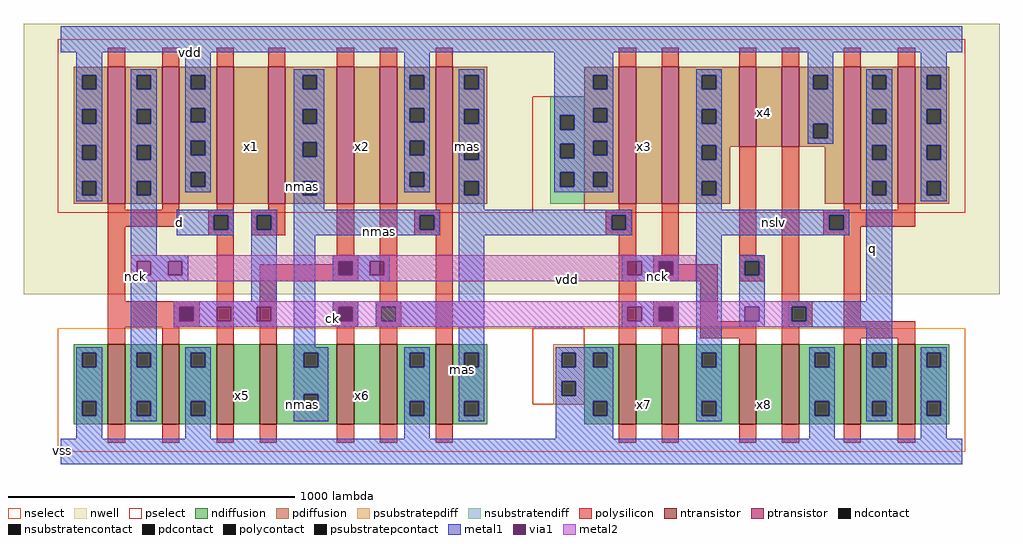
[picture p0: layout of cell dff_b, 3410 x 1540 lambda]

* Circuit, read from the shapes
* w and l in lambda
.subckt dff_b q d ck vdd vss
M1 nck ck vss vss nfet w=280 l=60 m=2
M2 x5 d vss vss nfet w=280 l=60
M3 nmas nck x5 vss nfet w=280 l=60
M4 x6 ck nmas vss nfet w=280 l=60
M5 vss mas x6 vss nfet w=280 l=60
M6 mas nmas vss vss nfet w=280 l=60
M7 x7 mas vss vss nfet w=280 l=60
M8 nslv ck x7 vss nfet w=280 l=60
M9 x8 nck nslv vss nfet w=280 l=60
M10 vss q x8 vss nfet w=280 l=60
M11 q nslv vss vss nfet w=280 l=60 m=2
M12 nck ck vdd vdd pfet w=480 l=60 m=2
M13 x1 d vdd vdd pfet w=480 l=60
M14 nmas ck x1 vdd pfet w=480 l=60
M15 x2 nck nmas vdd pfet w=480 l=60
M16 vdd mas x2 vdd pfet w=480 l=60
M17 mas nmas vdd vdd pfet w=480 l=60
M18 x3 mas vdd vdd pfet w=480 l=60
M19 nslv nck x3 vdd pfet w=480 l=60
M20 x4 ck nslv vdd pfet w=280 l=60
M21 vdd q x4 vdd pfet w=280 l=60
M22 q nslv vdd vdd pfet w=480 l=60 m=2
.ends

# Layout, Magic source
magic
tech amic5n
<< nwell >>
rect -130 550 3280 1495
<< ntransistor >>
rect 165 95 225 375
rect 355 95 415 375
rect 545 95 605 375
rect 695 95 755 375
rect 965 95 1025 375
rect 1115 95 1175 375
rect 1310 95 1370 375
rect 1950 95 2010 375
rect 2100 95 2160 375
rect 2370 95 2430 375
rect 2520 95 2580 375
rect 2735 95 2795 375
rect 2925 95 2985 375
<< ptransistor >>
rect 165 865 225 1345
rect 355 865 415 1345
rect 545 865 605 1345
rect 725 865 785 1345
rect 965 865 1025 1345
rect 1115 865 1175 1345
rect 1310 865 1370 1345
rect 1950 865 2010 1345
rect 2100 865 2160 1345
rect 2370 1065 2430 1345
rect 2520 1065 2580 1345
rect 2735 865 2795 1345
rect 2925 865 2985 1345
<< nselect >>
rect 1650 835 1830 1240
rect -10 165 1650 430
rect 1830 165 3160 430
rect -10 0 3160 165
<< pselect >>
rect -10 1240 3160 1440
rect -10 835 1650 1240
rect 1830 835 3160 1240
rect 1650 165 1830 430
<< ndiffusion >>
rect 45 345 165 375
rect 45 295 75 345
rect 125 295 165 345
rect 45 175 165 295
rect 45 125 75 175
rect 125 125 165 175
rect 45 95 165 125
rect 225 345 355 375
rect 225 295 265 345
rect 315 295 355 345
rect 225 175 355 295
rect 225 125 265 175
rect 315 125 355 175
rect 225 95 355 125
rect 415 345 545 375
rect 415 295 455 345
rect 505 295 545 345
rect 415 175 545 295
rect 415 125 455 175
rect 505 125 545 175
rect 415 95 545 125
rect 605 95 695 375
rect 755 345 965 375
rect 755 295 850 345
rect 900 295 965 345
rect 755 200 965 295
rect 755 150 850 200
rect 900 150 965 200
rect 755 95 965 150
rect 1025 95 1115 375
rect 1175 345 1310 375
rect 1175 295 1220 345
rect 1270 295 1310 345
rect 1175 175 1310 295
rect 1175 125 1220 175
rect 1270 125 1310 175
rect 1175 95 1310 125
rect 1370 345 1490 375
rect 1370 295 1410 345
rect 1460 295 1490 345
rect 1370 175 1490 295
rect 1370 125 1410 175
rect 1460 125 1490 175
rect 1830 345 1950 375
rect 1830 295 1860 345
rect 1910 295 1950 345
rect 1830 175 1950 295
rect 1370 95 1490 125
rect 1830 125 1860 175
rect 1910 125 1950 175
rect 1830 95 1950 125
rect 2010 95 2100 375
rect 2160 345 2370 375
rect 2160 295 2240 345
rect 2290 295 2370 345
rect 2160 175 2370 295
rect 2160 125 2240 175
rect 2290 125 2370 175
rect 2160 95 2370 125
rect 2430 95 2520 375
rect 2580 345 2735 375
rect 2580 295 2635 345
rect 2685 295 2735 345
rect 2580 175 2735 295
rect 2580 125 2635 175
rect 2685 125 2735 175
rect 2580 95 2735 125
rect 2795 345 2925 375
rect 2795 295 2835 345
rect 2885 295 2925 345
rect 2795 175 2925 295
rect 2795 125 2835 175
rect 2885 125 2925 175
rect 2795 95 2925 125
rect 2985 345 3105 375
rect 2985 295 3025 345
rect 3075 295 3105 345
rect 2985 175 3105 295
rect 2985 125 3025 175
rect 3075 125 3105 175
rect 2985 95 3105 125
<< pdiffusion >>
rect 45 1315 165 1345
rect 45 1265 75 1315
rect 125 1265 165 1315
rect 45 1195 165 1265
rect 45 1145 75 1195
rect 125 1145 165 1195
rect 45 1070 165 1145
rect 45 1020 75 1070
rect 125 1020 165 1070
rect 45 945 165 1020
rect 45 895 75 945
rect 125 895 165 945
rect 45 865 165 895
rect 225 1315 355 1345
rect 225 1265 265 1315
rect 315 1265 355 1315
rect 225 1195 355 1265
rect 225 1145 265 1195
rect 315 1145 355 1195
rect 225 1070 355 1145
rect 225 1020 265 1070
rect 315 1020 355 1070
rect 225 945 355 1020
rect 225 895 265 945
rect 315 895 355 945
rect 225 865 355 895
rect 415 1315 545 1345
rect 415 1265 455 1315
rect 505 1265 545 1315
rect 415 1200 545 1265
rect 415 1150 455 1200
rect 505 1150 545 1200
rect 415 1085 545 1150
rect 415 1035 455 1085
rect 505 1035 545 1085
rect 415 975 545 1035
rect 415 925 455 975
rect 505 925 545 975
rect 415 865 545 925
rect 605 865 725 1345
rect 785 1315 965 1345
rect 785 1265 845 1315
rect 895 1265 965 1315
rect 785 1195 965 1265
rect 785 1145 845 1195
rect 895 1145 965 1195
rect 785 1080 965 1145
rect 785 1030 845 1080
rect 895 1030 965 1080
rect 785 945 965 1030
rect 785 895 845 945
rect 895 895 965 945
rect 785 865 965 895
rect 1025 865 1115 1345
rect 1175 1315 1310 1345
rect 1175 1265 1220 1315
rect 1270 1265 1310 1315
rect 1175 1200 1310 1265
rect 1175 1150 1220 1200
rect 1270 1150 1310 1200
rect 1175 1085 1310 1150
rect 1175 1035 1220 1085
rect 1270 1035 1310 1085
rect 1175 975 1310 1035
rect 1175 925 1220 975
rect 1270 925 1310 975
rect 1175 865 1310 925
rect 1370 1315 1490 1345
rect 1370 1265 1410 1315
rect 1460 1265 1490 1315
rect 1370 1195 1490 1265
rect 1830 1315 1950 1345
rect 1830 1265 1860 1315
rect 1910 1265 1950 1315
rect 1370 1145 1410 1195
rect 1460 1145 1490 1195
rect 1370 1070 1490 1145
rect 1370 1020 1410 1070
rect 1460 1020 1490 1070
rect 1370 945 1490 1020
rect 1370 895 1410 945
rect 1460 895 1490 945
rect 1370 865 1490 895
rect 1830 1200 1950 1265
rect 1830 1150 1860 1200
rect 1910 1150 1950 1200
rect 1830 1085 1950 1150
rect 1830 1035 1860 1085
rect 1910 1035 1950 1085
rect 1830 975 1950 1035
rect 1830 925 1860 975
rect 1910 925 1950 975
rect 1830 865 1950 925
rect 2010 865 2100 1345
rect 2160 1315 2370 1345
rect 2160 1265 2240 1315
rect 2290 1265 2370 1315
rect 2160 1195 2370 1265
rect 2160 1145 2240 1195
rect 2290 1145 2370 1195
rect 2160 1070 2370 1145
rect 2160 1020 2240 1070
rect 2290 1065 2370 1070
rect 2430 1065 2520 1345
rect 2580 1315 2735 1345
rect 2580 1265 2630 1315
rect 2680 1265 2735 1315
rect 2580 1145 2735 1265
rect 2580 1095 2630 1145
rect 2680 1095 2735 1145
rect 2580 1065 2735 1095
rect 2290 1020 2340 1065
rect 2160 945 2340 1020
rect 2160 895 2240 945
rect 2290 895 2340 945
rect 2160 865 2340 895
rect 2670 865 2735 1065
rect 2795 1315 2925 1345
rect 2795 1265 2835 1315
rect 2885 1265 2925 1315
rect 2795 1195 2925 1265
rect 2795 1145 2835 1195
rect 2885 1145 2925 1195
rect 2795 1070 2925 1145
rect 2795 1020 2835 1070
rect 2885 1020 2925 1070
rect 2795 945 2925 1020
rect 2795 895 2835 945
rect 2885 895 2925 945
rect 2795 865 2925 895
rect 2985 1315 3105 1345
rect 2985 1265 3025 1315
rect 3075 1265 3105 1315
rect 2985 1195 3105 1265
rect 2985 1145 3025 1195
rect 3075 1145 3105 1195
rect 2985 1070 3105 1145
rect 2985 1020 3025 1070
rect 3075 1020 3105 1070
rect 2985 945 3105 1020
rect 2985 895 3025 945
rect 3075 895 3105 945
rect 2985 865 3105 895
<< psubstratepdiff >>
rect 1720 345 1830 375
rect 1720 295 1750 345
rect 1800 295 1830 345
rect 1720 245 1830 295
rect 1720 195 1750 245
rect 1800 195 1830 245
rect 1720 165 1830 195
<< nsubstratendiff >>
rect 1710 1175 1830 1240
rect 1710 1125 1745 1175
rect 1795 1125 1830 1175
rect 1710 1075 1830 1125
rect 1710 1025 1745 1075
rect 1795 1025 1830 1075
rect 1710 975 1830 1025
rect 1710 925 1745 975
rect 1795 925 1830 975
rect 1710 865 1830 925
<< nsubstratencontact >>
rect 1745 1125 1795 1175
rect 1745 1025 1795 1075
rect 1745 925 1795 975
<< psubstratepcontact >>
rect 1750 295 1800 345
rect 1750 195 1800 245
<< ndcontact >>
rect 75 295 125 345
rect 75 125 125 175
rect 265 295 315 345
rect 265 125 315 175
rect 455 295 505 345
rect 455 125 505 175
rect 850 295 900 345
rect 850 150 900 200
rect 1220 295 1270 345
rect 1220 125 1270 175
rect 1410 295 1460 345
rect 1410 125 1460 175
rect 1860 295 1910 345
rect 1860 125 1910 175
rect 2240 295 2290 345
rect 2240 125 2290 175
rect 2635 295 2685 345
rect 2635 125 2685 175
rect 2835 295 2885 345
rect 2835 125 2885 175
rect 3025 295 3075 345
rect 3025 125 3075 175
<< pdcontact >>
rect 75 1265 125 1315
rect 75 1145 125 1195
rect 75 1020 125 1070
rect 75 895 125 945
rect 265 1265 315 1315
rect 265 1145 315 1195
rect 265 1020 315 1070
rect 265 895 315 945
rect 455 1265 505 1315
rect 455 1150 505 1200
rect 455 1035 505 1085
rect 455 925 505 975
rect 845 1265 895 1315
rect 845 1145 895 1195
rect 845 1030 895 1080
rect 845 895 895 945
rect 1220 1265 1270 1315
rect 1220 1150 1270 1200
rect 1220 1035 1270 1085
rect 1220 925 1270 975
rect 1410 1265 1460 1315
rect 1860 1265 1910 1315
rect 1410 1145 1460 1195
rect 1410 1020 1460 1070
rect 1410 895 1460 945
rect 1860 1150 1910 1200
rect 1860 1035 1910 1085
rect 1860 925 1910 975
rect 2240 1265 2290 1315
rect 2240 1145 2290 1195
rect 2240 1020 2290 1070
rect 2630 1265 2680 1315
rect 2630 1095 2680 1145
rect 2240 895 2290 945
rect 2835 1265 2885 1315
rect 2835 1145 2885 1195
rect 2835 1020 2885 1070
rect 2835 895 2885 945
rect 3025 1265 3075 1315
rect 3025 1145 3075 1195
rect 3025 1020 3075 1070
rect 3025 895 3075 945
<< polysilicon >>
rect 165 1345 225 1410
rect 355 1345 415 1410
rect 545 1345 605 1410
rect 725 1345 785 1410
rect 965 1345 1025 1410
rect 1115 1345 1175 1410
rect 1310 1345 1370 1410
rect 1950 1345 2010 1410
rect 2100 1345 2160 1410
rect 2370 1345 2430 1410
rect 2520 1345 2580 1410
rect 2735 1345 2795 1410
rect 2925 1345 2985 1410
rect 165 845 225 865
rect 355 845 415 865
rect 545 845 605 865
rect 725 845 785 865
rect 165 785 415 845
rect 515 825 605 845
rect 165 525 225 785
rect 515 775 535 825
rect 585 775 605 825
rect 515 755 605 775
rect 665 825 785 845
rect 665 775 685 825
rect 735 775 785 825
rect 665 755 785 775
rect 165 505 485 525
rect 165 455 415 505
rect 465 455 485 505
rect 165 435 485 455
rect 165 375 225 435
rect 355 375 415 435
rect 545 375 605 755
rect 965 685 1025 865
rect 950 665 1040 685
rect 950 655 970 665
rect 695 615 970 655
rect 1020 615 1040 665
rect 695 595 1040 615
rect 695 375 755 595
rect 1115 525 1175 865
rect 1310 845 1370 865
rect 1950 845 2010 865
rect 1235 825 1370 845
rect 1235 775 1255 825
rect 1305 775 1370 825
rect 1235 755 1370 775
rect 1905 825 2010 845
rect 1905 775 1925 825
rect 1975 775 2010 825
rect 1905 755 2010 775
rect 950 505 1040 525
rect 950 455 970 505
rect 1020 455 1040 505
rect 950 435 1040 455
rect 1100 505 1190 525
rect 1100 455 1120 505
rect 1170 455 1190 505
rect 1100 435 1190 455
rect 965 375 1025 435
rect 1115 375 1175 435
rect 1310 375 1370 755
rect 1950 375 2010 755
rect 2100 685 2160 865
rect 2070 665 2160 685
rect 2070 615 2090 665
rect 2140 655 2160 665
rect 2370 685 2430 1065
rect 2370 665 2460 685
rect 2140 615 2295 655
rect 2070 595 2295 615
rect 2370 615 2390 665
rect 2440 615 2460 665
rect 2370 595 2460 615
rect 2070 505 2160 525
rect 2070 455 2090 505
rect 2140 455 2160 505
rect 2070 435 2160 455
rect 2100 375 2160 435
rect 2235 455 2295 595
rect 2520 525 2580 1065
rect 2735 845 2795 865
rect 2925 845 2985 865
rect 2665 825 2985 845
rect 2665 775 2685 825
rect 2735 785 2985 825
rect 2735 775 2795 785
rect 2665 755 2795 775
rect 2520 505 2625 525
rect 2520 455 2555 505
rect 2605 455 2625 505
rect 2235 395 2430 455
rect 2370 375 2430 395
rect 2520 435 2625 455
rect 2735 455 2795 755
rect 2520 375 2580 435
rect 2735 395 2985 455
rect 2735 375 2795 395
rect 2925 375 2985 395
rect 165 30 225 95
rect 355 30 415 95
rect 545 30 605 95
rect 695 30 755 95
rect 965 30 1025 95
rect 1115 30 1175 95
rect 1310 30 1370 95
rect 1950 30 2010 95
rect 2100 30 2160 95
rect 2370 30 2430 95
rect 2520 30 2580 95
rect 2735 30 2795 95
rect 2925 30 2985 95
<< polycontact >>
rect 535 775 585 825
rect 685 775 735 825
rect 415 455 465 505
rect 970 615 1020 665
rect 1255 775 1305 825
rect 1925 775 1975 825
rect 970 455 1020 505
rect 1120 455 1170 505
rect 2090 615 2140 665
rect 2390 615 2440 665
rect 2090 455 2140 505
rect 2685 775 2735 825
rect 2555 455 2605 505
<< metal1 >>
rect 0 1395 3150 1485
rect 55 1315 145 1395
rect 55 1265 75 1315
rect 125 1265 145 1315
rect 55 1195 145 1265
rect 55 1145 75 1195
rect 125 1145 145 1195
rect 55 1070 145 1145
rect 55 1020 75 1070
rect 125 1020 145 1070
rect 55 945 145 1020
rect 55 895 75 945
rect 125 895 145 945
rect 55 875 145 895
rect 245 1315 335 1335
rect 245 1265 265 1315
rect 315 1265 335 1315
rect 245 1195 335 1265
rect 245 1145 265 1195
rect 315 1145 335 1195
rect 245 1070 335 1145
rect 245 1020 265 1070
rect 315 1020 335 1070
rect 245 945 335 1020
rect 245 895 265 945
rect 315 895 335 945
rect 435 1315 525 1395
rect 435 1265 455 1315
rect 505 1265 525 1315
rect 435 1200 525 1265
rect 435 1150 455 1200
rect 505 1150 525 1200
rect 435 1085 525 1150
rect 435 1035 455 1085
rect 505 1035 525 1085
rect 435 975 525 1035
rect 435 925 455 975
rect 505 925 525 975
rect 435 905 525 925
rect 815 1315 920 1335
rect 815 1265 845 1315
rect 895 1265 920 1315
rect 815 1195 920 1265
rect 815 1145 845 1195
rect 895 1145 920 1195
rect 815 1080 920 1145
rect 815 1030 845 1080
rect 895 1030 920 1080
rect 815 945 920 1030
rect 245 685 335 895
rect 815 895 845 945
rect 895 895 920 945
rect 1200 1315 1290 1395
rect 1200 1265 1220 1315
rect 1270 1265 1290 1315
rect 1200 1200 1290 1265
rect 1200 1150 1220 1200
rect 1270 1150 1290 1200
rect 1200 1085 1290 1150
rect 1200 1035 1220 1085
rect 1270 1035 1290 1085
rect 1200 975 1290 1035
rect 1200 925 1220 975
rect 1270 925 1290 975
rect 1200 905 1290 925
rect 1390 1315 1480 1335
rect 1390 1265 1410 1315
rect 1460 1265 1480 1315
rect 1390 1195 1480 1265
rect 1390 1145 1410 1195
rect 1460 1145 1480 1195
rect 1390 1070 1480 1145
rect 1390 1020 1410 1070
rect 1460 1020 1480 1070
rect 1390 945 1480 1020
rect 815 845 920 895
rect 1390 895 1410 945
rect 1460 895 1480 945
rect 1725 1315 1930 1395
rect 1725 1265 1860 1315
rect 1910 1265 1930 1315
rect 1725 1200 1930 1265
rect 1725 1175 1860 1200
rect 1725 1125 1745 1175
rect 1795 1150 1860 1175
rect 1910 1150 1930 1200
rect 1795 1125 1930 1150
rect 1725 1085 1930 1125
rect 1725 1075 1860 1085
rect 1725 1025 1745 1075
rect 1795 1035 1860 1075
rect 1910 1035 1930 1085
rect 1795 1025 1930 1035
rect 1725 975 1930 1025
rect 1725 925 1745 975
rect 1795 925 1860 975
rect 1910 925 1930 975
rect 1725 905 1930 925
rect 2220 1315 2310 1335
rect 2220 1265 2240 1315
rect 2290 1265 2310 1315
rect 2220 1195 2310 1265
rect 2220 1145 2240 1195
rect 2290 1145 2310 1195
rect 2220 1070 2310 1145
rect 2610 1315 2700 1395
rect 2610 1265 2630 1315
rect 2680 1265 2700 1315
rect 2610 1145 2700 1265
rect 2610 1095 2630 1145
rect 2680 1095 2700 1145
rect 2610 1075 2700 1095
rect 2815 1315 2905 1335
rect 2815 1265 2835 1315
rect 2885 1265 2905 1315
rect 2815 1195 2905 1265
rect 2815 1145 2835 1195
rect 2885 1145 2905 1195
rect 2220 1020 2240 1070
rect 2290 1020 2310 1070
rect 2220 945 2310 1020
rect 1390 845 1480 895
rect 2220 895 2240 945
rect 2290 895 2310 945
rect 2220 845 2310 895
rect 2815 1070 2905 1145
rect 2815 1020 2835 1070
rect 2885 1020 2905 1070
rect 2815 945 2905 1020
rect 2815 895 2835 945
rect 2885 895 2905 945
rect 405 825 605 845
rect 405 775 535 825
rect 585 775 605 825
rect 405 755 605 775
rect 665 825 755 845
rect 665 775 685 825
rect 735 775 755 825
rect 245 665 445 685
rect 245 615 265 665
rect 315 615 375 665
rect 425 615 445 665
rect 245 595 445 615
rect 55 345 145 365
rect 55 295 75 345
rect 125 295 145 345
rect 55 175 145 295
rect 55 125 75 175
rect 125 125 145 175
rect 55 45 145 125
rect 245 345 335 595
rect 665 525 755 775
rect 395 505 755 525
rect 395 455 415 505
rect 465 455 545 505
rect 595 455 685 505
rect 735 455 755 505
rect 395 435 755 455
rect 815 825 1325 845
rect 815 775 1255 825
rect 1305 775 1325 825
rect 815 755 1325 775
rect 1390 825 1995 845
rect 1390 775 1925 825
rect 1975 775 1995 825
rect 1390 755 1995 775
rect 2220 825 2755 845
rect 2220 775 2685 825
rect 2735 775 2755 825
rect 2220 755 2755 775
rect 815 365 890 755
rect 950 665 1150 685
rect 950 615 970 665
rect 1020 615 1080 665
rect 1130 615 1150 665
rect 950 595 1150 615
rect 1390 525 1480 755
rect 1960 665 2160 685
rect 1960 615 1980 665
rect 2030 615 2090 665
rect 2140 615 2160 665
rect 1960 595 2160 615
rect 950 505 1040 525
rect 950 455 970 505
rect 1020 455 1040 505
rect 950 435 1040 455
rect 1100 505 1480 525
rect 1100 455 1120 505
rect 1170 455 1480 505
rect 1100 435 1480 455
rect 1960 505 2160 525
rect 1960 455 1980 505
rect 2030 455 2090 505
rect 2140 455 2160 505
rect 1960 435 2160 455
rect 245 295 265 345
rect 315 295 335 345
rect 245 175 335 295
rect 245 125 265 175
rect 315 125 335 175
rect 245 105 335 125
rect 435 345 525 365
rect 435 295 455 345
rect 505 295 525 345
rect 435 175 525 295
rect 435 125 455 175
rect 505 125 525 175
rect 435 45 525 125
rect 815 345 935 365
rect 815 295 850 345
rect 900 295 935 345
rect 815 200 935 295
rect 815 150 850 200
rect 900 150 935 200
rect 815 105 935 150
rect 1200 345 1290 365
rect 1200 295 1220 345
rect 1270 295 1290 345
rect 1200 175 1290 295
rect 1200 125 1220 175
rect 1270 125 1290 175
rect 1200 45 1290 125
rect 1390 345 1480 435
rect 1390 295 1410 345
rect 1460 295 1480 345
rect 1390 175 1480 295
rect 1390 125 1410 175
rect 1460 125 1480 175
rect 1390 105 1480 125
rect 1730 345 1930 365
rect 1730 295 1750 345
rect 1800 295 1860 345
rect 1910 295 1930 345
rect 1730 245 1930 295
rect 1730 195 1750 245
rect 1800 195 1930 245
rect 1730 175 1930 195
rect 1730 125 1860 175
rect 1910 125 1930 175
rect 1730 45 1930 125
rect 2220 345 2310 755
rect 2370 665 2460 685
rect 2370 615 2390 665
rect 2440 615 2460 665
rect 2370 505 2460 615
rect 2815 525 2905 895
rect 3005 1315 3095 1395
rect 3005 1265 3025 1315
rect 3075 1265 3095 1315
rect 3005 1195 3095 1265
rect 3005 1145 3025 1195
rect 3075 1145 3095 1195
rect 3005 1070 3095 1145
rect 3005 1020 3025 1070
rect 3075 1020 3095 1070
rect 3005 945 3095 1020
rect 3005 895 3025 945
rect 3075 895 3095 945
rect 3005 875 3095 895
rect 2370 455 2390 505
rect 2440 455 2460 505
rect 2370 435 2460 455
rect 2520 505 2905 525
rect 2520 455 2555 505
rect 2605 455 2905 505
rect 2520 435 2905 455
rect 2220 295 2240 345
rect 2290 295 2310 345
rect 2220 175 2310 295
rect 2220 125 2240 175
rect 2290 125 2310 175
rect 2220 105 2310 125
rect 2615 345 2705 365
rect 2615 295 2635 345
rect 2685 295 2705 345
rect 2615 175 2705 295
rect 2615 125 2635 175
rect 2685 125 2705 175
rect 2615 45 2705 125
rect 2815 345 2905 435
rect 2815 295 2835 345
rect 2885 295 2905 345
rect 2815 175 2905 295
rect 2815 125 2835 175
rect 2885 125 2905 175
rect 2815 105 2905 125
rect 3005 345 3095 365
rect 3005 295 3025 345
rect 3075 295 3095 345
rect 3005 175 3095 295
rect 3005 125 3025 175
rect 3075 125 3095 175
rect 3005 45 3095 125
rect 0 -45 3150 45
<< via1 >>
rect 265 615 315 665
rect 375 615 425 665
rect 415 455 465 505
rect 545 455 595 505
rect 685 455 735 505
rect 970 615 1020 665
rect 1080 615 1130 665
rect 1980 615 2030 665
rect 2090 615 2140 665
rect 970 455 1020 505
rect 1980 455 2030 505
rect 2090 455 2140 505
rect 2390 455 2440 505
<< metal2 >>
rect 245 665 2220 685
rect 245 615 265 665
rect 315 615 375 665
rect 425 615 970 665
rect 1020 615 1080 665
rect 1130 615 1980 665
rect 2030 615 2090 665
rect 2140 615 2220 665
rect 245 595 2220 615
rect 395 505 2545 525
rect 395 455 415 505
rect 465 455 545 505
rect 595 455 685 505
rect 735 455 970 505
rect 1020 455 1980 505
rect 2030 455 2090 505
rect 2140 455 2390 505
rect 2440 455 2545 505
rect 395 435 2545 455
<< labels >>
flabel ndiffusion s 1055 195 1055 195 2 FreeSans 400 0 0 0 x6
flabel ndiffusion 635 195 635 195 2 FreeSans 400 0 0 0 x5
flabel metal1 s 845 165 845 165 2 FreeSans 400 0 0 0 nmas
flabel metal1 260 610 260 610 2 FreeSans 400 0 0 0 nck
flabel metal1 s 415 800 415 800 2 FreeSans 400 0 0 0 d
port 1 s
flabel metal1 s 455 1395 455 1395 2 FreeSans 400 0 0 0 vdd
port 3 n
flabel pdiffusion s 1055 1065 1055 1065 2 FreeSans 400 0 0 0 x2
flabel pdiffusion s 665 1065 665 1065 2 FreeSans 400 0 0 0 x1
flabel metal1 s 1115 770 1115 770 2 FreeSans 400 0 0 0 nmas
flabel metal1 s 1405 285 1405 285 2 FreeSans 400 0 0 0 mas
flabel metal1 s 1420 1065 1420 1065 2 FreeSans 400 0 0 0 mas
flabel metal1 s 950 465 950 465 2 FreeSans 400 0 0 0 ck
port 2 ne
flabel metal1 s 845 925 845 925 2 FreeSans 400 0 0 0 nmas
flabel pdiffusion s 2040 1065 2040 1065 2 FreeSans 400 0 0 0 x3
flabel ndiffusion s 2040 165 2040 165 2 FreeSans 400 0 0 0 x7
flabel nwell s 1770 600 1770 600 2 FreeSans 400 0 0 0 vdd
flabel metal1 s 2085 610 2085 610 2 FreeSans 400 0 0 0 nck
flabel ndiffusion s 2460 165 2460 165 2 FreeSans 400 0 0 0 x8
flabel pdiffusion s 2460 1185 2460 1185 2 FreeSans 400 0 0 0 x4
flabel metal1 s 2835 710 2835 710 2 FreeSans 400 0 0 0 q
port 0 e
flabel metal1 s 2490 800 2490 800 2 FreeSans 400 0 0 0 nslv
flabel metal1 s 5 5 5 5 2 FreeSans 400 0 0 0 vss
port 4 s
<< properties >>
string FIXED_BBOX 0 0 3150 1440
string LEFsite core
string LEFclass CORE
string LEFsymmetry X Y
<< end >>
